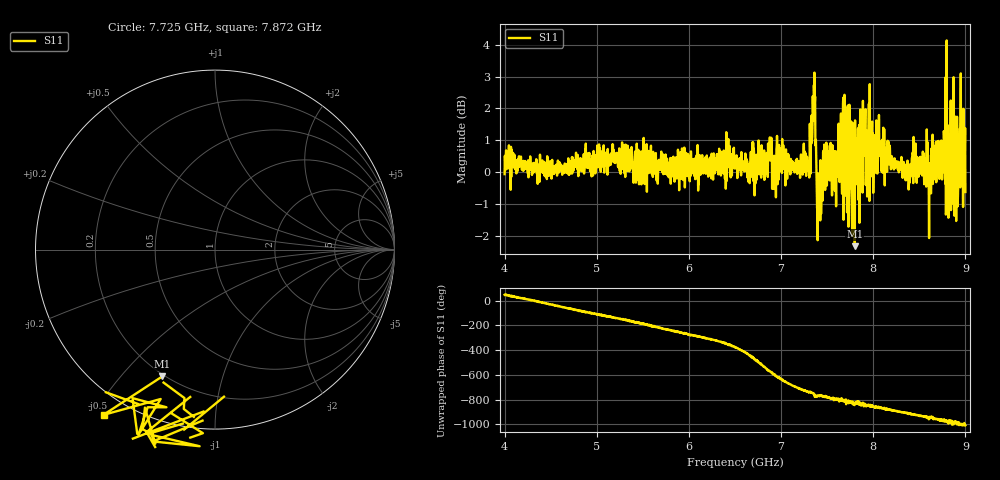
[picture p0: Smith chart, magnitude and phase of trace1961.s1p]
! Created with skrf 1.8.0 (http://scikit-rf.org).
# Hz S RI R 50.0
!freq ReS11 ImS11
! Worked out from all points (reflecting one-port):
!   1601 points, 4 GHz to 9 GHz, reference 50 ohm
!   lowest |S11| = -2.3 dB at 7.8 GHz (marker M1), VSWR 7.52, Z = 9.53 - j32.5 ohm
!   phase of S11 starts at 48 deg and turns -1056 deg over the sweep
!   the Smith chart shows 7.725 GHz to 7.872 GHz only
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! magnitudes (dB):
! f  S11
! 4 GHz  -0.1
! 4.625 GHz  -0.1
! 5.25 GHz  0.0
! 5.875 GHz  0.2
! 6.5 GHz  0.2
! 7.125 GHz  0.3
! 7.294 GHz  0.0
! 7.347 GHz  2.0
! 7.366 GHz  2.2
! 7.4 GHz  0.0
! 7.412 GHz  -0.7
! 7.481 GHz  0.0
! 7.591 GHz  0.7
! 7.65 GHz  1.8
! 7.75 GHz  0.5
! 7.788 GHz  -0.4
! 7.8 GHz  -2.3
! 7.891 GHz  0.7
! 8.375 GHz  -0.1
! 8.441 GHz  0.0
! 8.616 GHz  0.0
! 8.656 GHz  0.8
! 8.766 GHz  1.3
! 8.788 GHz  -1.3
! 8.9 GHz  -1.5
! 8.953 GHz  -0.4
! 8.972 GHz  0.4
! 9 GHz  -0.6
